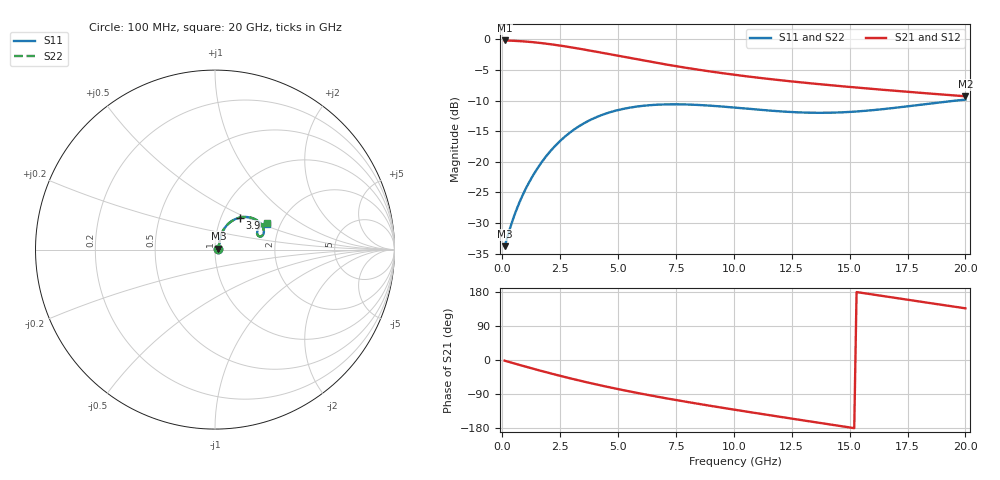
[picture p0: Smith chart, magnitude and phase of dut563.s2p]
! Touchstone file exported from HFSS 2024.1.0
!  File:  C:/UserFiles/LocalFiles/RDL_TSV_Batchsim/temp_RDL_TSV_563_1779752823.aedt
!  Generated:  08:00:39 AM May 26, 2026
!  Design:  RDL_TSV
!  Project:  temp_RDL_TSV_563_1779752823
!  Setup:  Setup1
!  Solution:  Sweep
! Variables:
!  dtsv = 6.91um
!  hbump = 3um
!  htsv = 76.19um
!  ldown = 433.94um
!  lrdl = 505.36um
!  p = 40
!  p1 = 42.02um
!  rhole = 10um
!  subl = 3323.26um
!  t = 450um
!  tdown = 4.2um
!  trdl = 3.71um
!  viad = 10um
!  wdown = 12.31um
!  wrdl = 20.56um
!  xbump = 18um
# GHz S MA R 50.000000
! Terminal data exported
! Port[1] = TM1_1_T1
! Port[2] = TM1_4_T1
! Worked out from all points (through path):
!   200 points, 100 MHz to 20 GHz, reference 50 ohm
!   highest |S21| = -0.17 dB at 100 MHz (marker M1); lowest = -9.3 dB at 20 GHz (marker M2)
!   group delay of S21, straight-line fit = 29.5 ps
!   lowest |S11| = -33.8 dB at 100 MHz (marker M3), VSWR 1.04, Z = 52 + j0.637 ohm
!   |S11| at or under -10 dB: start of sweep to 19.6 GHz
!   |S22| runs from -33.8 to -9.8 dB; largest |S21 - S12| = 3.4e-14
!   S11 on the Smith chart (normalised r, x): 100 MHz: 1.04, +0.01; 3.9 GHz: 1.22, +0.46; 20 GHz: 1.70, +0.54
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0.1  0.02043 17.4  0.9804 -1.8  0.9804 -1.8  0.02043 17.4
! Gamma 0 0 0 0
! Port Impedance 50 0 50 0
0.4  0.03134 45.4  0.9759 -7.1  0.9759 -7.1  0.03134 45.4
0.7  0.04461 57.2  0.9695 -12.3  0.9695 -12.3  0.04461 57.2
1.1  0.06482 64.6  0.9575 -19.1  0.9575 -19.1  0.06482 64.6
1.5  0.08732 67.2  0.9418 -25.8  0.9418 -25.8  0.08732 67.2
1.9  0.1113 67.1  0.9228 -32.3  0.9228 -32.3  0.1113 67.2
2.4  0.142 64.9  0.8957 -40.3  0.8957 -40.3  0.142 65.0
2.9  0.172 61.4  0.866 -47.9  0.866 -47.9  0.172 61.4
3.5  0.2049 56.2  0.8285 -56.7  0.8285 -56.7  0.2049 56.2
3.9  0.2243 52.5  0.8031 -62.3  0.8031 -62.3  0.2242 52.5
4.5  0.2487 47.0  0.7653 -70.4  0.7653 -70.4  0.2486 47.0
5.2  0.27 40.8  0.7228 -79.3  0.7228 -79.3  0.2699 40.9
6  0.2856 34.6  0.6776 -88.9  0.6776 -88.9  0.2855 34.6
6.8  0.2933 29.1  0.6367 -98.0  0.6367 -98.0  0.2932 29.2
8.4  0.2917 21.0  0.5681 -115.0  0.5681 -115.0  0.2914 21.1
10.1  0.2766 16.6  0.5118 -131.9  0.5118 -131.9  0.276 16.7
11.7  0.2607 16.1  0.4708 -147.2  0.4708 -147.2  0.26 16.4
13.4  0.2515 19.0  0.436 -163.1  0.436 -163.1  0.2508 19.3
15  0.2554 22.9  0.4088 -178.0  0.4088 -178.0  0.255 23.4
16.7  0.2725 26.2  0.3838 166.4  0.3838 166.4  0.2726 26.7
18.4  0.2976 27.2  0.3617 150.8  0.3617 150.8  0.2982 27.8
20  0.3222 26.3  0.343 136.4  0.343 136.4  0.3233 26.8
